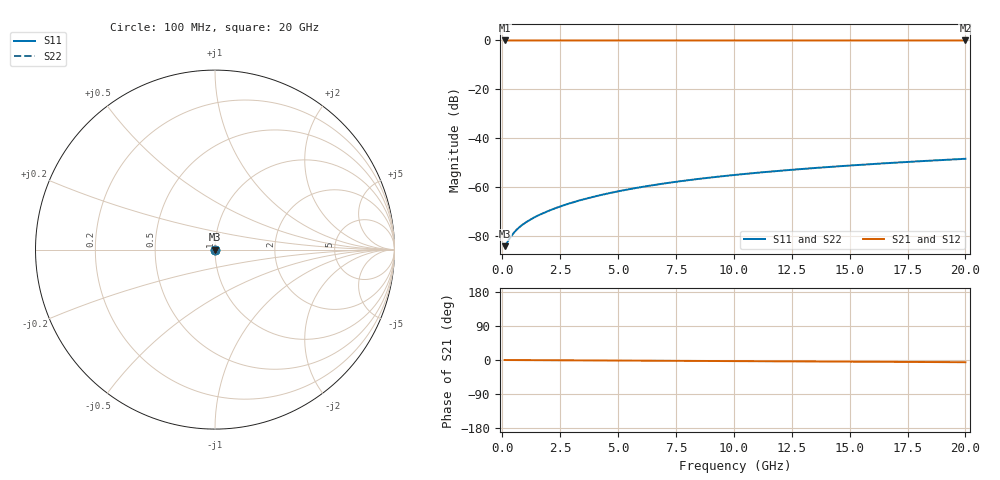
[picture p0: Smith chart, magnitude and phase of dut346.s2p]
! Touchstone file exported from HFSS 2026.1.0
!  File:  C:/ffzhzh/LocalFiles/Ansys_Project_Files/temp_train_TSV_346_1783018997_53980.aedt
!  Generated:  03:05:09 AM Jul  3, 2026
!  Design:  TSV
!  Project:  temp_train_TSV_346_1783018997_53980
! Variables:
!  h_bsmrdl = 2um
!  h_ox = 20um
!  h_rdl = 5um
!  h_sub = 53.62um
!  h_tmrdl = 5um
!  h_tsv = 53.62um
!  h_via = 3um
!  l_bsmrdl = 300um
!  l_sub = 427.88um
!  l_tmrdl = 200um
!  m_sub = 200um
!  pitch = 52.95um
!  r_tsv = 13.94um
!  s_tmrdl = 10um
!  w_bsmrdl = 18um
!  w_sub = 500um
!  w_tmrdl = 12um
!  x_tsv_center1 = 206um
!  x_tsv_center2 = 524um
!  x_tsv_center3 = 736um
!  x_tsv_center4 = 1054um
!  x_tsv_center5 = 1266um
!  x_tsv_center6 = 1584um
# GHz S MA R 50.000000
! Terminal data exported
! Port[1] = TSV1_1_T1
! Port[2] = TSV1_1_T2
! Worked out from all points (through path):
!   200 points, 100 MHz to 20 GHz, reference 50 ohm
!   highest |S21| = 0.00 dB at 100 MHz (marker M1); lowest = 0.0 dB at 20 GHz (marker M2)
!   lowest |S11| = -84.3 dB at 100 MHz (marker M3), VSWR 1.00, Z = 50 + j0.00103 ohm
!   |S11| at or under -10 dB: start of sweep to end of sweep
!   |S22| runs from -84.3 to -48.5 dB; largest |S21 - S12| = 5.3e-15
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0.1  6.128e-05 9.7  0.9999 -0.0  0.9999 -0.0  6.128e-05 9.7
! Gamma 0 0 0 0
! Port Impedance 50 0 50 0
0.4  0.0001005 12.5  0.9999 -0.1  0.9999 -0.1  0.0001005 12.5
0.5  0.0001155 8.4  0.9999 -0.2  0.9999 -0.2  0.0001155 8.4
0.6  0.0001303 3.7  0.9999 -0.2  0.9999 -0.2  0.0001303 3.7
0.7  0.0001446 -1.2  0.9999 -0.2  0.9999 -0.2  0.0001446 -1.2
0.9  0.0001723 -10.4  0.9998 -0.3  0.9998 -0.3  0.0001723 -10.4
1.3  0.0002264 -25.2  0.9998 -0.4  0.9998 -0.4  0.0002264 -25.2
1.7  0.0002815 -35.6  0.9998 -0.5  0.9998 -0.5  0.0002815 -35.6
2.1  0.0003387 -43.0  0.9997 -0.6  0.9997 -0.6  0.0003387 -43.0
2.5  0.0003982 -48.5  0.9997 -0.7  0.9997 -0.7  0.0003982 -48.5
3  0.0004756 -53.5  0.9997 -0.9  0.9997 -0.9  0.0004756 -53.5
3.5  0.0005563 -57.2  0.9997 -1.0  0.9997 -1.0  0.0005562 -57.2
4.2  0.0006737 -61.1  0.9997 -1.2  0.9997 -1.2  0.0006737 -61.1
5  0.0008134 -64.4  0.9996 -1.5  0.9996 -1.5  0.0008134 -64.4
5.9  0.000976 -67.3  0.9996 -1.7  0.9996 -1.7  0.0009759 -67.3
6.8  0.001143 -69.6  0.9996 -2.0  0.9996 -2.0  0.001143 -69.6
8.3  0.001427 -72.7  0.9995 -2.4  0.9995 -2.4  0.001427 -72.7
10.1  0.001775 -75.6  0.9995 -3.0  0.9995 -3.0  0.001775 -75.6
11.7  0.002088 -77.6  0.9994 -3.4  0.9994 -3.4  0.002088 -77.6
13.4  0.002425 -79.4  0.9994 -3.9  0.9994 -3.9  0.002425 -79.4
16.7  0.00309 -82.2  0.9993 -4.9  0.9993 -4.9  0.00309 -82.2
20  0.003773 -84.4  0.9992 -5.8  0.9992 -5.8  0.003773 -84.4
